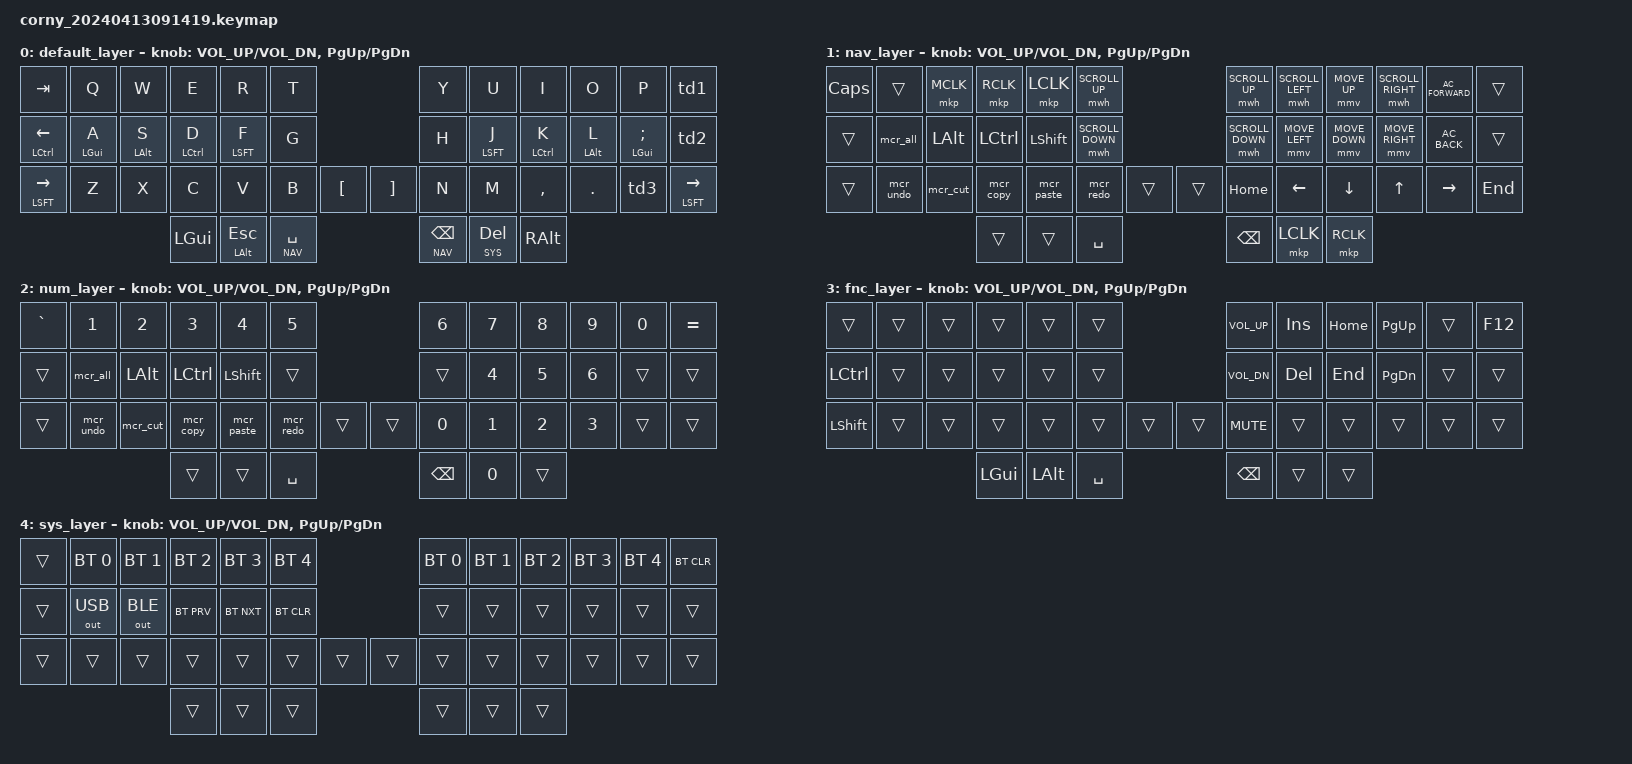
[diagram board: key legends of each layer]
#include <behaviors.dtsi>
#include <dt-bindings/zmk/keys.h>
#include <dt-bindings/zmk/bt.h>


#define DEFAULT 0
#define NAV   1
#define NUM   2
#define FNC   3
#define SYS   4

//flavor = "hold-preferred";
//flavor = "tap-unless-interrupted";
//flavor = "balanced";
//flavor = "tap-preferred";

/ {
    combos {
        compatible = "zmk,combos";
        combo_ralt {
            timeout-ms = <50>;
            key-positions = <44 45>;
            bindings = <&kp RALT>;
        };
    };
};

/ {
    behaviors {
        hm1: hm1 {
            compatible = "zmk,behavior-hold-tap";
            label = "HOMEROW_MODS1";
            #binding-cells = <2>;
            tapping-term-ms = <150>;
            quick-tap-ms = <0>;
			flavor = "tap-preferred";
            bindings = <&kp>, <&kp>;
        };
        hm2: hm2 {
            compatible = "zmk,behavior-hold-tap";
            label = "HOMEROW_MODS2";
            #binding-cells = <2>;
            tapping-term-ms = <200>;
            quick-tap-ms = <0>;
			flavor = "tap-preferred";
            bindings = <&kp>, <&kp>;
        };
        hm3: hm3 {
            compatible = "zmk,behavior-hold-tap";
            label = "HOMEROW_MODS3";
            #binding-cells = <2>;
            tapping-term-ms = <250>;
            quick-tap-ms = <0>;
            flavor = "tap-preferred";
            bindings = <&kp>, <&kp>;
        };
        hm4: hm4 {
            compatible = "zmk,behavior-hold-tap";
            label = "HOMEROW_MODS3";
            #binding-cells = <2>;
            tapping-term-ms = <350>;
            quick-tap-ms = <0>;
            flavor = "tap-preferred";
            bindings = <&kp>, <&kp>;
        };
        td0: tap_dance_0 {
            compatible = "zmk,behavior-tap-dance";
            label = "TAP_DANCE_0";
            #binding-cells = <0>;
            tapping-term-ms = <200>;
            bindings = <&kp MINUS>, <&kp EQUAL>;
        };
        td1: tap_dance_1 {
            compatible = "zmk,behavior-tap-dance";
            label = "TAP_DANCE_1";
            #binding-cells = <0>;
            tapping-term-ms = <200>;
            bindings = <&kp LBKT>, <&kp RBKT>;
        };
        td2: tap_dance_2 {
            compatible = "zmk,behavior-tap-dance";
            label = "TAP_DANCE_2";
            #binding-cells = <0>;
            tapping-term-ms = <200>;
            bindings = <&kp SQT>, <&kp GRAVE>;
        };
        td3: tap_dance_3 {
            compatible = "zmk,behavior-tap-dance";
            label = "TAP_DANCE_3";
            #binding-cells = <0>;
            tapping-term-ms = <200>;
            bindings = <&kp FSLH>, <&kp BSLH>;
        };
    };
};

/ {
    macros {
        mcr_undo: mcr_undo {
            label = "mcr_undo";
            compatible = "zmk,behavior-macro";
            #binding-cells = <0>;
            bindings
                = <&macro_press &kp LCTRL>
                , <&macro_tap &kp Z>
                , <&macro_release &kp LCTRL>
                ;
        };
        mcr_cut: mcr_cut {
            label = "mcr_cut";
            compatible = "zmk,behavior-macro";
            #binding-cells = <0>;
            bindings
                = <&macro_press &kp LCTRL>
                , <&macro_tap &kp X>
                , <&macro_release &kp LCTRL>
                ;
        };
        mcr_copy: mcr_copy {
            label = "mcr_copy";
            compatible = "zmk,behavior-macro";
            #binding-cells = <0>;
            bindings
                = <&macro_press &kp LCTRL>
                , <&macro_tap &kp C>
                , <&macro_release &kp LCTRL>
                ;
        };
        mcr_paste: mcr_paste {
            label = "mcr_paste";
            compatible = "zmk,behavior-macro";
            #binding-cells = <0>;
            bindings
                = <&macro_press &kp LCTRL>
                , <&macro_tap &kp V>
                , <&macro_release &kp LCTRL>
                ;
        };
        mcr_redo: mcr_redo {
            label = "mcr_redo";
            compatible = "zmk,behavior-macro";
            #binding-cells = <0>;
            bindings
                = <&macro_press &kp LCTRL>
                , <&macro_press &kp LSHFT>
                , <&macro_tap &kp Z>
                , <&macro_release &kp LSHFT>
                , <&macro_release &kp LCTRL>
                ;
        };
        mcr_all: mcr_all {
            label = "mcr_all";
            compatible = "zmk,behavior-macro";
            #binding-cells = <0>;
            bindings
                = <&macro_press &kp LCTRL>
                , <&macro_tap &kp A>
                , <&macro_release &kp LCTRL>
                ;
        };
    };
};

&mmv {
    delay-ms = <0>;
    time-to-max-speed-ms = <300>;
};

&mwh {
    delay-ms = <0>;
    acceleration-exponent=<1>;
};




/ {
	keymap {
		compatible = "zmk,keymap";

		default_layer {
			bindings = <
&kp TAB         &kp Q          &kp W          &kp E           &kp R          &kp T                                                 &kp Y               &kp U                &kp I              &kp O              &kp P                &td1
&hm2 LCTL LEFT  &hm4 LGUI A    &hm3 LALT S    &hm3 LCTL D     &hm2 LSFT F    &kp G                                                 &kp H               &hm1 LSFT J          &hm3 LCTL K        &hm3 LALT L        &hm4 LGUI SEMI       &td2
&hm2 LSFT RIGHT &kp Z          &kp X          &kp C           &kp V          &kp B             &kp LBKT          &kp RBKT          &kp N               &kp M                &kp COMMA          &kp DOT            &td3                 &hm2 LSFT RIGHT
                                              &kp LGUI       &hm4 LALT ESC   &lt NAV SPACE                                         &lt NAV BSPC        &lt SYS DEL          &kp RALT
			>;

			sensor-bindings = <&inc_dec_kp C_VOL_UP C_VOL_DN &inc_dec_kp PG_UP PG_DN>;
		};

		nav_layer {
			bindings = <
&kp CAPS       &trans         &mkp MCLK      &mkp RCLK       &mkp LCLK       &mwh SCROLL_UP                                         &mwh SCROLL_UP      &mwh SCROLL_LEFT    &mmv MOVE_UP       &mwh SCROLL_RIGHT &kp C_AC_FORWARD    &trans
&trans         &mcr_all       &kp LALT       &kp LCTRL       &kp LSHFT       &mwh SCROLL_DOWN                                       &mwh SCROLL_DOWN    &mmv MOVE_LEFT      &mmv MOVE_DOWN     &mmv MOVE_RIGHT   &kp C_AC_BACK       &trans
&trans         &mcr_undo      &mcr_cut       &mcr_copy       &mcr_paste      &mcr_redo         &trans            &trans             &kp HOME            &kp LEFT            &kp DOWN           &kp UP            &kp RIGHT           &kp END
                                             &trans          &trans          &kp SPACE                                              &kp BSPC            &mkp LCLK           &mkp RCLK
			>;

			sensor-bindings = <&inc_dec_kp C_VOL_UP C_VOL_DN &inc_dec_kp PG_UP PG_DN>;
		};

		num_layer {
			bindings = <
&kp GRAVE      &kp N1         &kp N2         &kp N3          &kp N4          &kp N5                                                 &kp N6              &kp N7              &kp N8             &kp N9            &kp N0              &kp EQUAL
&trans         &mcr_all       &kp LALT       &kp LCTRL       &kp LSHFT       &trans                                                 &trans              &kp N4              &kp N5             &kp N6            &trans              &trans
&trans         &mcr_undo      &mcr_cut       &mcr_copy       &mcr_paste      &mcr_redo         &trans            &trans             &kp N0              &kp N1              &kp N2             &kp N3            &trans              &trans
                                             &trans          &trans          &kp SPACE                                              &kp BSPC            &kp N0              &trans
			>;

			sensor-bindings = <&inc_dec_kp C_VOL_UP C_VOL_DN &inc_dec_kp PG_UP PG_DN>;
		};

		fnc_layer {
			bindings = <
&trans         &trans         &trans         &trans          &trans          &trans                                                 &kp C_VOL_UP        &kp INSERT          &kp HOME           &kp PG_UP         &trans              &kp F12
&kp LCTRL      &trans         &trans         &trans          &trans          &trans                                                 &kp C_VOL_DN        &kp DELETE          &kp END            &kp PG_DN         &trans              &trans
&kp LSHFT      &trans         &trans         &trans          &trans          &trans            &trans            &trans             &kp C_MUTE          &trans              &trans             &trans            &trans              &trans
                                             &kp LGUI        &kp LALT        &kp SPACE                                              &kp BSPC            &trans              &trans
			>;

			sensor-bindings = <&inc_dec_kp C_VOL_UP C_VOL_DN &inc_dec_kp PG_UP PG_DN>;
		};

		sys_layer {
			bindings = <
&trans         &bt BT_SEL 0   &bt BT_SEL 1   &bt BT_SEL 2    &bt BT_SEL 3    &bt BT_SEL 4                                           &bt BT_SEL 0        &bt BT_SEL 1        &bt BT_SEL 2       &bt BT_SEL 3      &bt BT_SEL 4        &bt BT_CLR
&trans         &out OUT_USB   &out OUT_BLE   &bt BT_PRV      &bt BT_NXT      &bt BT_CLR                                             &trans              &trans              &trans             &trans            &trans              &trans
&trans         &trans         &trans         &trans          &trans          &trans            &trans            &trans             &trans              &trans              &trans             &trans            &trans              &trans
                                             &trans          &trans          &trans                                                 &trans              &trans              &trans
			>;

			sensor-bindings = <&inc_dec_kp C_VOL_UP C_VOL_DN &inc_dec_kp PG_UP PG_DN>;
		};
	};
};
